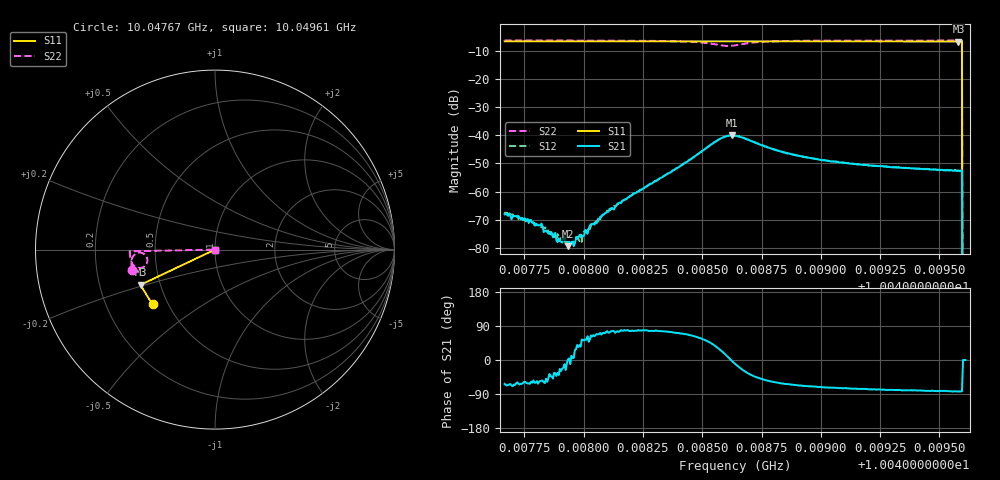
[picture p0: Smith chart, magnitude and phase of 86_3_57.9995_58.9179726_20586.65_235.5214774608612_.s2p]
#  HZ  S  RI  R  50.00
! Rohde & Schwarz Vector Network Analyzer
! Rohde-Schwarz,ZNB20-2Port,1311601062101988,3.16
! Created: UTC 3/21/2024, 12:54:07 AM
! freq[Hz]  re:S11  im:S11  re:S21  im:S21  re:S12  im:S12  re:S22  im:S22
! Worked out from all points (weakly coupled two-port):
!   401 points, 10.04767 GHz to 10.04961 GHz, reference 50 ohm
!   highest |S21| = -40.09 dB at 10.04862 GHz (marker M1); lowest = -79.3 dB at 10.04793 GHz (marker M2)
!   lowest |S11| = -6.8 dB at 10.04958 GHz (marker M3), VSWR 2.68, Z = 19.5 - j9.65 ohm
!   |S11| at or under -10 dB: 10.0496 GHz to end of sweep
!   |S22| runs from - to -6.4 dB; largest |S21 - S12| = 0.00068
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1.0047667e10  -0.3456 -0.3033  0.000179 -0.000354  0.000198 -0.000391  -0.4621 -0.1154
1.0047817e10  -0.3519 -0.2955  0.000143 -0.000208  0.000159 -0.000183  -0.464 -0.1039
1.0047842e10  -0.353 -0.2941  0.000133 -0.000155  0.000186 -0.000147  -0.4645 -0.1021
1.0047871e10  -0.3543 -0.2925  0.000102 -0.000117  0.000141 -0.000111  -0.4648 -0.0997
1.0047895e10  -0.3552 -0.2913  0.000115 -9.49e-05  0.000131 -9.29e-05  -0.4649 -0.0978
1.0047914e10  -0.356 -0.2903  0.000145 -5.23e-05  0.000124 -5.13e-05  -0.4654 -0.0961
1.0047934e10  -0.3568 -0.2893  0.000108 2.99e-06  0.000106 2.89e-05  -0.4654 -0.0946
1.0047953e10  -0.3576 -0.2883  0.000134 1.19e-05  0.000101 6.38e-05  -0.4657 -0.093
1.0047992e10  -0.3591 -0.2863  9.78e-05 0.000134  7.22e-05 0.000107  -0.4659 -0.0896
1.0048012e10  -0.36 -0.2851  0.000113 0.000154  0.000117 0.000169  -0.466 -0.0879
1.0048031e10  -0.3607 -0.2841  0.000113 0.00024  0.000111 0.000222  -0.4663 -0.0861
1.0048094e10  -0.3631 -0.2807  0.000116 0.000404  0.000103 0.000406  -0.4667 -0.0803
1.0048318e10  -0.3716 -0.2685  0.000406 0.00163  0.00027 0.00168  -0.4641 -0.0543
1.0048565e10  -0.38 -0.2543  0.00693 0.00433  0.00667 0.00474  -0.3987 -0.0221
1.0048624e10  -0.3817 -0.2517  0.0099 -0.000238  0.00992 0.000376  -0.3771 -0.0666
1.0048638e10  -0.3822 -0.251  0.00962 -0.0017  0.00978 -0.00105  -0.3815 -0.0793
1.0048813e10  -0.3889 -0.2413  0.00278 -0.00464  0.00305 -0.00452  -0.4539 -0.0871
1.0048964e10  -0.3939 -0.2326  0.00135 -0.00365  0.00155 -0.00358  -0.467 -0.0653
1.0049289e10  -0.4039 -0.2136  0.000531 -0.0027  0.000694 -0.00266  -0.4736 -0.0334
1.0049581e10  -0.4121 -0.1961  0.000299 -0.00233  0.000412 -0.00231  -0.4751 -0.0108
1.0049585e10  -0.4123 -0.1959  0.000274 -0.00229  0.000429 -0.00232  -0.4751 -0.0103
1.004961e10  0 0  0 0  0 0  0 0
